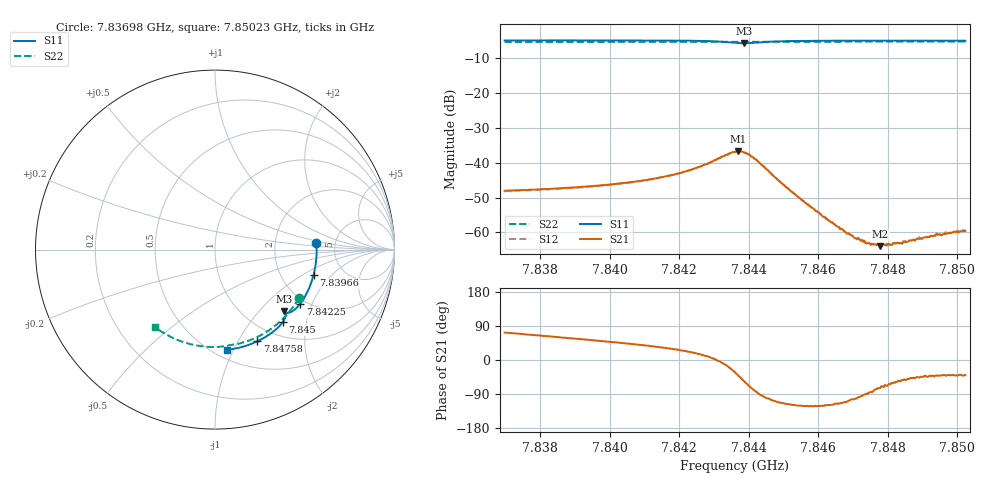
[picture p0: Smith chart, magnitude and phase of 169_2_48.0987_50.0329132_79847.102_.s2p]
#  HZ  S  RI  R  50.00
! Rohde & Schwarz Vector Network Analyzer
! Rohde-Schwarz,ZNB20-2Port,1311601062101988,3.16
! Created: UTC 12/23/2023, 3:51:34 AM
! freq[Hz]  re:S11  im:S11  re:S21  im:S21  re:S12  im:S12  re:S22  im:S22
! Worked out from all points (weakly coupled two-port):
!   401 points, 7.83698 GHz to 7.85023 GHz, reference 50 ohm
!   highest |S21| = -36.74 dB at 7.8437 GHz (marker M1); lowest = -63.9 dB at 7.84778 GHz (marker M2)
!   lowest |S11| = -5.7 dB at 7.84387 GHz (marker M3), VSWR 3.14, Z = 74 - j69.5 ohm
!   |S11| at or under -10 dB: nowhere
!   |S22| runs from -5.4 to -5.3 dB; largest |S21 - S12| = 0.00034
!   S11 on the Smith chart (normalised r, x): 7.83698 GHz: 3.56, +0.39; 7.83966 GHz: 3.04, -1.26; 7.84225 GHz: 1.86, -1.64; 7.845 GHz: 1.26, -1.47; 7.84758 GHz: 0.81, -1.21; 7.85023 GHz: 0.58, -0.94
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7.836979e9  0.565 0.0371  0.0012 0.00377  0.0012 0.00368  0.4677 -0.2688
7.839198e9  0.5559 -0.1101  0.0026 0.00366  0.00258 0.00359  0.3725 -0.3912
7.839662e9  0.5493 -0.1405  0.00296 0.00362  0.0029 0.00357  0.3485 -0.4132
7.840556e9  0.5307 -0.1982  0.0038 0.00355  0.00377 0.00353  0.2985 -0.4509
7.841418e9  0.5062 -0.2524  0.00503 0.00341  0.00502 0.0034  0.2464 -0.4818
7.842246e9  0.4742 -0.3026  0.0071 0.00291  0.00705 0.00294  0.1932 -0.5055
7.843107e9  0.4248 -0.3467  0.0112 -0.000364  0.0113 -0.000311  0.1353 -0.5232
7.843604e9  0.3904 -0.3503  0.012 -0.00767  0.012 -0.00771  0.1021 -0.5294
7.843704e9  0.3869 -0.3477  0.0109 -0.00966  0.0109 -0.00939  0.0958 -0.5303
7.843869e9  0.3862 -0.3439  0.00783 -0.0116  0.00779 -0.0117  0.0852 -0.5323
7.844234e9  0.3939 -0.3531  0.000937 -0.0108  0.000883 -0.0107  0.0616 -0.5369
7.844996e9  0.3778 -0.4033  -0.00199 -0.00443  -0.002 -0.00443  0.00848 -0.5426
7.845824e9  0.3372 -0.4468  -0.00119 -0.00192  -0.00118 -0.00192  -0.0498 -0.5412
7.846519e9  0.2987 -0.4757  -0.000514 -0.00113  -0.000533 -0.00112  -0.0986 -0.535
7.84705e9  0.2678 -0.4946  -0.00019 -0.000802  -0.000191 -0.000824  -0.1349 -0.5273
7.847513e9  0.2399 -0.5091  7.23e-05 -0.000658  7.05e-05 -0.000681  -0.1663 -0.5185
7.84758e9  0.236 -0.5109  9.51e-05 -0.00067  9.69e-05 -0.000658  -0.1708 -0.5172
7.847778e9  0.2239 -0.5165  0.000175 -0.00061  0.000226 -0.000639  -0.1839 -0.5126
7.848043e9  0.2073 -0.5233  0.000313 -0.000603  0.000266 -0.000605  -0.2015 -0.5063
7.849402e9  0.1207 -0.5496  0.000728 -0.000631  0.000685 -0.000619  -0.2866 -0.4642
7.849634e9  0.1056 -0.5528  0.000735 -0.000607  0.000734 -0.00066  -0.3005 -0.4557
7.85023e9  0.0663 -0.5585  0.0008 -0.000671  0.000834 -0.000678  -0.3347 -0.4314
